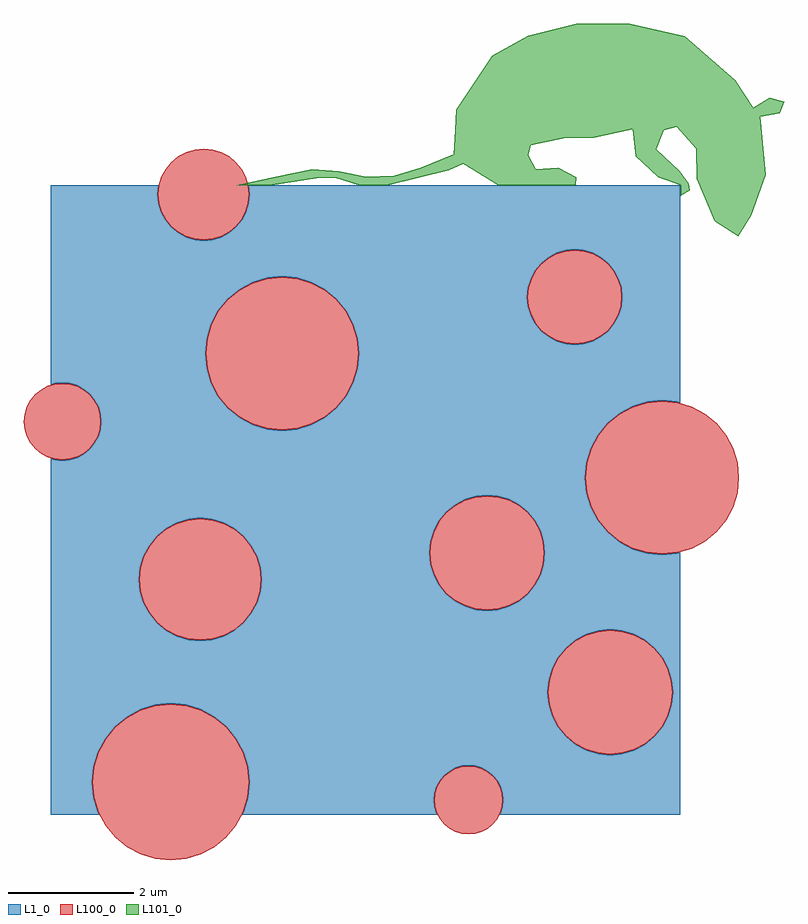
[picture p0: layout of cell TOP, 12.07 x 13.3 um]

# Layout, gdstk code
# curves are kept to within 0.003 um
import gdstk
lib = gdstk.Library(unit=1e-6, precision=1e-09)
def P(c, l, *ps):  # polygons
    for p in ps: c.add(gdstk.Polygon(p, *l))
L1_0 = (1, 0)
L100_0 = (100, 0)
L101_0 = (101, 0)

top = lib.new_cell('TOP')
P(top, L1_0, [(0,0),(0,4.709),(2.371,4.709),(2.182,4.69),(2,4.635),(1.833,4.545),(1.686,4.425),(1.566,4.278),(1.476,4.111),(1.421,3.929),(1.402,3.74),(1.421,3.551),(1.476,3.369),(1.566,3.201),(1.686,3.055),(1.833,2.934),(2,2.845),(2.182,2.789),(2.371,2.771),(2.56,2.789),(2.742,2.845),(2.916,2.939),(8.885,2.939),(8.692,2.92),(8.506,2.864),(8.335,2.772),(8.185,2.649),(8.062,2.499),(7.97,2.328),(7.914,2.142),(7.895,1.949),(7.914,1.756),(7.97,1.57),(8.062,1.399),(8.185,1.249),(8.335,1.125),(8.506,1.034),(8.692,0.978),(8.885,0.959),(9.078,0.978),(9.264,1.034),(9.435,1.125),(9.585,1.249),(9.708,1.399),(9.8,1.57),(9.856,1.756),(9.875,1.949),(9.856,2.142),(9.8,2.328),(9.708,2.499),(9.585,2.649),(9.435,2.772),(9.264,2.864),(9.078,2.92),(8.885,2.939),(2.916,2.939),(3.056,3.055),(3.177,3.201),(3.267,3.369),(3.322,3.551),(3.34,3.74),(3.322,3.929),(3.267,4.111),(3.177,4.278),(3.056,4.425),(2.91,4.545),(2.742,4.635),(2.56,4.69),(2.371,4.709),(0,4.709),(0,5.074),(6.929,5.074),(6.751,5.056),(6.58,5.005),(6.422,4.92),(6.284,4.807),(6.17,4.669),(6.086,4.511),(6.034,4.34),(6.017,4.162),(6.034,3.984),(6.086,3.813),(6.17,3.655),(6.284,3.517),(6.422,3.403),(6.58,3.319),(6.751,3.267),(6.929,3.25),(7.107,3.267),(7.278,3.319),(7.436,3.403),(7.574,3.517),(7.687,3.655),(7.771,3.813),(7.823,3.984),(7.841,4.162),(7.823,4.34),(7.771,4.511),(7.687,4.669),(7.574,4.807),(7.436,4.92),(7.278,5.005),(7.107,5.056),(6.929,5.074),(0,5.074),(0,5.669),(0.064,5.65),(0.183,5.638),(0.302,5.65),(0.417,5.685),(0.523,5.741),(0.615,5.817),(0.691,5.91),(0.748,6.015),(0.782,6.13),(0.794,6.249),(0.782,6.368),(0.748,6.483),(0.691,6.589),(0.615,6.681),(0.523,6.757),(0.417,6.814),(0.302,6.848),(0.183,6.86),(0.064,6.848),(0,6.829),(0,8.546),(3.672,8.546),(3.435,8.523),(3.207,8.454),(2.997,8.341),(2.812,8.19),(2.661,8.006),(2.549,7.795),(2.48,7.567),(2.456,7.33),(2.48,7.093),(2.549,6.864),(2.661,6.654),(2.812,6.47),(2.997,6.318),(3.207,6.206),(3.435,6.137),(3.672,6.113),(3.91,6.137),(4.138,6.206),(4.348,6.318),(4.533,6.47),(4.684,6.654),(4.796,6.864),(4.865,7.093),(4.889,7.33),(4.865,7.567),(4.796,7.795),(4.684,8.006),(4.533,8.19),(4.348,8.341),(4.138,8.454),(3.91,8.523),(3.672,8.546),(0,8.546),(0,8.976),(8.322,8.976),(8.175,8.961),(8.034,8.919),(7.905,8.849),(7.791,8.756),(7.698,8.642),(7.628,8.512),(7.585,8.372),(7.571,8.225),(7.585,8.079),(7.628,7.938),(7.698,7.808),(7.791,7.695),(7.905,7.601),(8.034,7.532),(8.175,7.489),(8.322,7.475),(8.468,7.489),(8.609,7.532),(8.738,7.601),(8.852,7.695),(8.945,7.808),(9.015,7.938),(9.058,8.079),(9.072,8.225),(9.058,8.372),(9.015,8.512),(8.945,8.642),(8.852,8.756),(8.738,8.849),(8.609,8.919),(8.468,8.961),(8.322,8.976),(0,8.976),(0,10),(1.714,10),(1.7,9.858),(1.714,9.716),(1.755,9.58),(1.822,9.455),(1.913,9.345),(2.023,9.255),(2.148,9.188),(2.284,9.146),(2.426,9.132),(2.567,9.146),(2.703,9.188),(2.829,9.255),(2.939,9.345),(3.029,9.455),(3.096,9.58),(3.137,9.716),(3.151,9.858),(3.137,10),(10,10),(10,6.538),(9.949,6.553),(9.712,6.577),(9.474,6.553),(9.245,6.484),(9.034,6.371),(8.849,6.219),(8.698,6.035),(8.585,5.824),(8.515,5.595),(8.492,5.357),(8.515,5.119),(8.585,4.89),(8.698,4.679),(8.849,4.495),(9.034,4.343),(9.245,4.23),(9.474,4.161),(9.712,4.138),(9.949,4.161),(10,4.176),(10,0),(7.125,0),(7.139,0.027),(7.17,0.129),(7.181,0.236),(7.17,0.342),(7.139,0.444),(7.089,0.539),(7.021,0.621),(6.938,0.689),(6.844,0.74),(6.742,0.771),(6.635,0.781),(6.529,0.771),(6.427,0.74),(6.333,0.689),(6.25,0.621),(6.182,0.539),(6.132,0.444),(6.101,0.342),(6.09,0.236),(6.101,0.129),(6.132,0.027),(6.146,0),(3.029,0),(3.053,0.044),(3.123,0.278),(3.147,0.52),(3.123,0.763),(3.053,0.996),(2.938,1.211),(2.783,1.4),(2.595,1.554),(2.379,1.669),(2.146,1.74),(1.903,1.764),(1.661,1.74),(1.427,1.669),(1.212,1.554),(1.024,1.4),(0.869,1.211),(0.754,0.996),(0.683,0.763),(0.66,0.52),(0.683,0.278),(0.754,0.044),(0.778,0)])
P(top, L100_0, [(3.672,6.113),(3.435,6.137),(3.207,6.206),(2.997,6.318),(2.812,6.47),(2.661,6.654),(2.549,6.864),(2.48,7.093),(2.456,7.33),(2.48,7.567),(2.549,7.795),(2.661,8.006),(2.812,8.19),(2.997,8.341),(3.207,8.454),(3.435,8.523),(3.672,8.546),(3.91,8.523),(4.138,8.454),(4.348,8.341),(4.533,8.19),(4.684,8.006),(4.796,7.795),(4.865,7.567),(4.889,7.33),(4.865,7.093),(4.796,6.864),(4.684,6.654),(4.533,6.47),(4.348,6.318),(4.138,6.206),(3.91,6.137)],
  [(2.426,9.132),(2.284,9.146),(2.148,9.188),(2.023,9.255),(1.913,9.345),(1.822,9.455),(1.755,9.58),(1.714,9.716),(1.7,9.858),(1.714,10),(1.755,10.136),(1.822,10.261),(1.913,10.371),(2.023,10.461),(2.148,10.528),(2.284,10.57),(2.426,10.584),(2.567,10.57),(2.703,10.528),(2.829,10.461),(2.939,10.371),(3.029,10.261),(3.096,10.136),(3.137,10),(3.151,9.858),(3.137,9.716),(3.096,9.58),(3.029,9.455),(2.939,9.345),(2.829,9.255),(2.703,9.188),(2.567,9.146)],
  [(0.183,5.638),(0.064,5.65),(-0.051,5.685),(-0.156,5.741),(-0.249,5.817),(-0.325,5.91),(-0.381,6.015),(-0.416,6.13),(-0.428,6.249),(-0.416,6.368),(-0.381,6.483),(-0.325,6.589),(-0.249,6.681),(-0.156,6.757),(-0.051,6.814),(0.064,6.848),(0.183,6.86),(0.302,6.848),(0.417,6.814),(0.523,6.757),(0.615,6.681),(0.691,6.589),(0.748,6.483),(0.782,6.368),(0.794,6.249),(0.782,6.13),(0.748,6.015),(0.691,5.91),(0.615,5.817),(0.523,5.741),(0.417,5.685),(0.302,5.65)],
  [(2.371,2.771),(2.182,2.789),(2,2.845),(1.833,2.934),(1.686,3.055),(1.566,3.201),(1.476,3.369),(1.421,3.551),(1.402,3.74),(1.421,3.929),(1.476,4.111),(1.566,4.278),(1.686,4.425),(1.833,4.545),(2,4.635),(2.182,4.69),(2.371,4.709),(2.56,4.69),(2.742,4.635),(2.91,4.545),(3.056,4.425),(3.177,4.278),(3.267,4.111),(3.322,3.929),(3.34,3.74),(3.322,3.551),(3.267,3.369),(3.177,3.201),(3.056,3.055),(2.91,2.934),(2.742,2.845),(2.56,2.789)],
  [(9.712,4.138),(9.474,4.161),(9.245,4.23),(9.034,4.343),(8.849,4.495),(8.698,4.679),(8.585,4.89),(8.515,5.119),(8.492,5.357),(8.515,5.595),(8.585,5.824),(8.698,6.035),(8.849,6.219),(9.034,6.371),(9.245,6.484),(9.474,6.553),(9.712,6.577),(9.949,6.553),(10.178,6.484),(10.389,6.371),(10.574,6.219),(10.726,6.035),(10.838,5.824),(10.908,5.595),(10.931,5.357),(10.908,5.119),(10.838,4.89),(10.726,4.679),(10.574,4.495),(10.389,4.343),(10.178,4.23),(9.949,4.161)],
  [(1.903,-0.724),(1.661,-0.7),(1.427,-0.629),(1.212,-0.514),(1.024,-0.359),(0.869,-0.171),(0.754,0.044),(0.683,0.278),(0.66,0.52),(0.683,0.763),(0.754,0.996),(0.869,1.211),(1.024,1.4),(1.212,1.554),(1.427,1.669),(1.661,1.74),(1.903,1.764),(2.146,1.74),(2.379,1.669),(2.595,1.554),(2.783,1.4),(2.938,1.211),(3.053,0.996),(3.123,0.763),(3.147,0.52),(3.123,0.278),(3.053,0.044),(2.938,-0.171),(2.783,-0.359),(2.595,-0.514),(2.379,-0.629),(2.146,-0.7)],
  [(8.885,0.959),(8.692,0.978),(8.506,1.034),(8.335,1.125),(8.185,1.249),(8.062,1.399),(7.97,1.57),(7.914,1.756),(7.895,1.949),(7.914,2.142),(7.97,2.328),(8.062,2.499),(8.185,2.649),(8.335,2.772),(8.506,2.864),(8.692,2.92),(8.885,2.939),(9.078,2.92),(9.264,2.864),(9.435,2.772),(9.585,2.649),(9.708,2.499),(9.8,2.328),(9.856,2.142),(9.875,1.949),(9.856,1.756),(9.8,1.57),(9.708,1.399),(9.585,1.249),(9.435,1.125),(9.264,1.034),(9.078,0.978)],
  [(8.322,7.475),(8.175,7.489),(8.034,7.532),(7.905,7.601),(7.791,7.695),(7.698,7.808),(7.628,7.938),(7.585,8.079),(7.571,8.225),(7.585,8.372),(7.628,8.512),(7.698,8.642),(7.791,8.756),(7.905,8.849),(8.034,8.919),(8.175,8.961),(8.322,8.976),(8.468,8.961),(8.609,8.919),(8.738,8.849),(8.852,8.756),(8.945,8.642),(9.015,8.512),(9.058,8.372),(9.072,8.225),(9.058,8.079),(9.015,7.938),(8.945,7.808),(8.852,7.695),(8.738,7.601),(8.609,7.532),(8.468,7.489)],
  [(6.929,3.25),(6.751,3.267),(6.58,3.319),(6.422,3.403),(6.284,3.517),(6.17,3.655),(6.086,3.813),(6.034,3.984),(6.017,4.162),(6.034,4.34),(6.086,4.511),(6.17,4.669),(6.284,4.807),(6.422,4.92),(6.58,5.005),(6.751,5.056),(6.929,5.074),(7.107,5.056),(7.278,5.005),(7.436,4.92),(7.574,4.807),(7.687,4.669),(7.771,4.511),(7.823,4.34),(7.841,4.162),(7.823,3.984),(7.771,3.813),(7.687,3.655),(7.574,3.517),(7.436,3.403),(7.278,3.319),(7.107,3.267)],
  [(6.635,-0.309),(6.529,-0.299),(6.427,-0.268),(6.333,-0.218),(6.25,-0.15),(6.182,-0.067),(6.132,0.027),(6.101,0.129),(6.09,0.236),(6.101,0.342),(6.132,0.444),(6.182,0.539),(6.25,0.621),(6.333,0.689),(6.427,0.74),(6.529,0.771),(6.635,0.781),(6.742,0.771),(6.844,0.74),(6.938,0.689),(7.021,0.621),(7.089,0.539),(7.139,0.444),(7.17,0.342),(7.181,0.236),(7.17,0.129),(7.139,0.027),(7.089,-0.067),(7.021,-0.15),(6.938,-0.218),(6.844,-0.268),(6.742,-0.299)])
P(top, L101_0, [(10.922,9.196),(10.542,9.432),(10.262,10.104),(10.25,10.58),(9.946,10.932),(9.736,10.876),(9.618,10.576),(9.986,10.224),(10.134,10.024),(10.146,9.92),(10.002,9.84),(10.002,10),(9.646,10.132),(9.29,10.46),(9.242,10.892),(8.626,10.756),(8.19,10.756),(7.626,10.636),(7.586,10.476),(7.7,10.26),(8.06,10.28),(8.345,10.13),(8.34,10),(7.106,10),(6.55,10.348),(6.322,10.24),(5.35,10),(4.898,10),(4.518,10.124),(4.214,10.112),(3.914,10.068),(3.506,10),(2.95,10),(4.154,10.26),(4.574,10.228),(5.002,10.14),(5.454,10.152),(5.874,10.284),(6.4,10.498),(6.426,10.88),(6.438,11.2),(7.014,12.064),(7.582,12.376),(8.342,12.572),(9.194,12.572),(10.07,12.372),(10.87,11.672),(11.158,11.236),(11.422,11.396),(11.646,11.328),(11.582,11.144),(11.266,11.092),(11.358,10.168),(11.122,9.524)])

lib.write_gds('TOP.gds')
